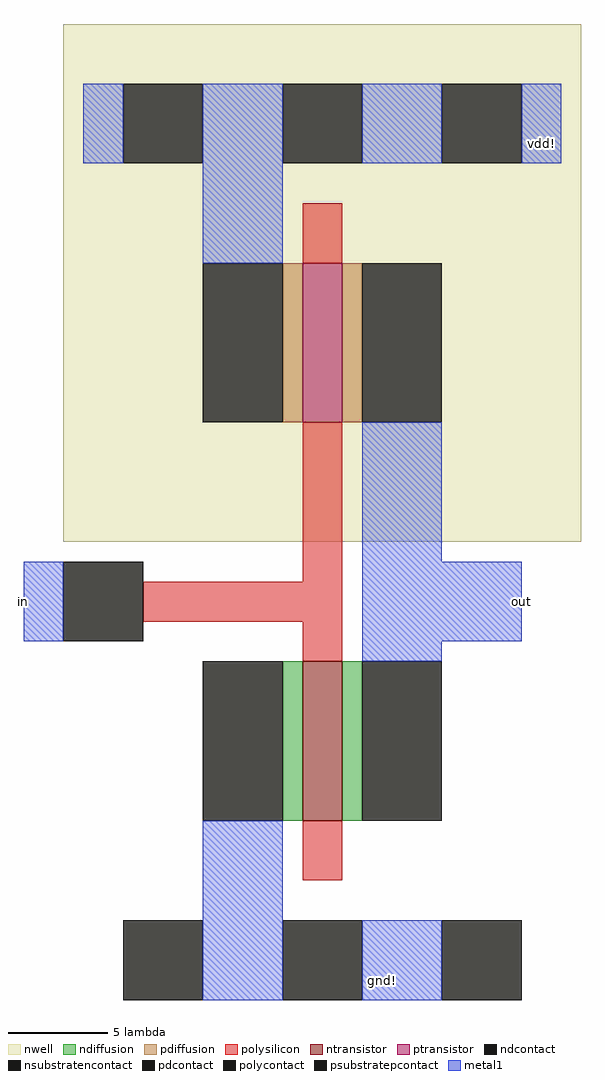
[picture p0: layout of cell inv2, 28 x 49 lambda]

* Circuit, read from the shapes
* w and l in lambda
.subckt inv2 gnd! in out vdd!
M1 out in gnd! gnd! nfet w=8 l=2
M2 out in vdd! vdd! pfet w=8 l=2
.ends

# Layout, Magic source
magic
tech min2
<< nwell >>
rect -1 0 25 26
<< ntransistor >>
rect 11 -14 13 -6
<< ptransistor >>
rect 11 6 13 14
<< ndiffusion >>
rect 10 -14 11 -6
rect 13 -14 14 -6
<< pdiffusion >>
rect 10 6 11 14
rect 13 6 14 14
<< ndcontact >>
rect 6 -14 10 -6
rect 14 -14 18 -6
<< pdcontact >>
rect 6 6 10 14
rect 14 6 18 14
<< psubstratepcontact >>
rect 2 -23 6 -19
rect 10 -23 14 -19
rect 18 -23 22 -19
<< nsubstratencontact >>
rect 2 19 6 23
rect 10 19 14 23
rect 18 19 22 23
<< polysilicon >>
rect 11 14 13 17
rect 11 -2 13 6
rect 3 -4 13 -2
rect 11 -6 13 -4
rect 11 -17 13 -14
<< polycontact >>
rect -1 -5 3 -1
<< metal1 >>
rect 0 19 2 23
rect 6 14 10 23
rect 14 19 18 23
rect 22 19 24 23
rect 14 -1 18 6
rect -3 -5 -1 -1
rect 14 -5 22 -1
rect 14 -6 18 -5
rect 6 -23 10 -14
rect 14 -23 18 -19
<< labels >>
rlabel metal1 -3 -5 -3 -1 3 in
rlabel metal1 22 -5 22 -1 7 out
rlabel metal1 15 -22 15 -22 1 gnd!
rlabel metal1 23 20 23 20 7 vdd!
<< end >>
